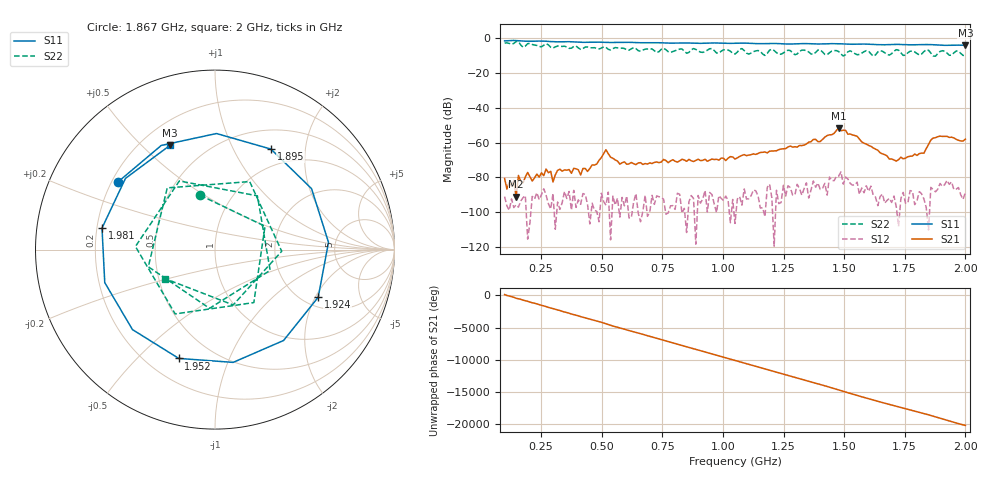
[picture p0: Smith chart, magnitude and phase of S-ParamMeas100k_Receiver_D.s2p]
!Keysight Technologies,N5242B,MY48420967,A.15.65.19
!Date: Saturday, February 04, 2023 08:47:09
!Correction: S11(C  1-Port  )
!S21(Off)
!S12(Off)
!S22(Off)
!S2P File: Measurements: S11, S21, S12, S22:
# Hz S  dB  R 50
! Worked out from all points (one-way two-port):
!   201 points, 100 MHz to 2 GHz, reference 50 ohm
!   highest |S21| = -51.71 dB at 1.478 GHz (marker M1); lowest = -91.1 dB at 147.5 MHz (marker M2)
!   lowest |S11| = -4.0 dB at 2 GHz (marker M3), VSWR 4.45, Z = 15.8 + j30.5 ohm
!   |S11| at or under -10 dB: nowhere
!   |S22| runs from -10.2 to -1.7 dB; largest |S21 - S12| = 0.0026
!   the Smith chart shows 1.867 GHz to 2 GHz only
!   S11 on the Smith chart (normalised r, x): 1.867 GHz: 0.23, +0.30; 1.895 GHz: 0.75, +1.42; 1.924 GHz: 2.39, -2.11; 1.952 GHz: 0.33, -0.67; 1.981 GHz: 0.22, +0.09; 2 GHz: 0.32, +0.61
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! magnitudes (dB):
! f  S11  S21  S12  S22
! 100 MHz  -1.4  -80.6  -91.1  -2.6
! 147.5 MHz  -1.2  -91.1  -95.7  -1.7
! 271 MHz  -1.6  -75.2  -90.2  -3.1
! 299.5 MHz  -1.9  -82.6  -89.3  -5.5
! 328 MHz  -1.9  -75.3  -98.4  -4.5
! 413.5 MHz  -2.2  -78.6  -95.5  -6.3
! 423 MHz  -2.2  -74.9  -89.3  -5.8
! 480 MHz  -2.1  -72.3  -99.6  -5.7
! 518 MHz  -2.3  -64.1  -96.0  -5.2
! 575 MHz  -2.2  -72.4  -102.8  -5.7
! 736.5 MHz  -2.5  -71.5  -91.1  -7.6
! 1.05 GHz  -2.8  -69.4  -106.5  -9.0
! 1.373 GHz  -3.1  -58.1  -82.1  -9.2
! 1.478 GHz  -3.0  -51.7  -79.3  -7.6
! 1.687 GHz  -3.5  -69.5  -92.0  -9.6
! 1.829 GHz  -3.5  -66.0  -92.4  -7.6
! 1.867 GHz  -3.6  -57.4  -87.0  -10.1
! 1.895 GHz  -3.9  -56.2  -83.5  -7.5
! 1.924 GHz  -4.0  -56.4  -81.7  -8.4
! 1.952 GHz  -3.9  -57.3  -87.0  -8.3
! 1.981 GHz  -3.9  -59.0  -90.1  -8.6
! 2 GHz  -4.0  -58.0  -88.6  -9.8
